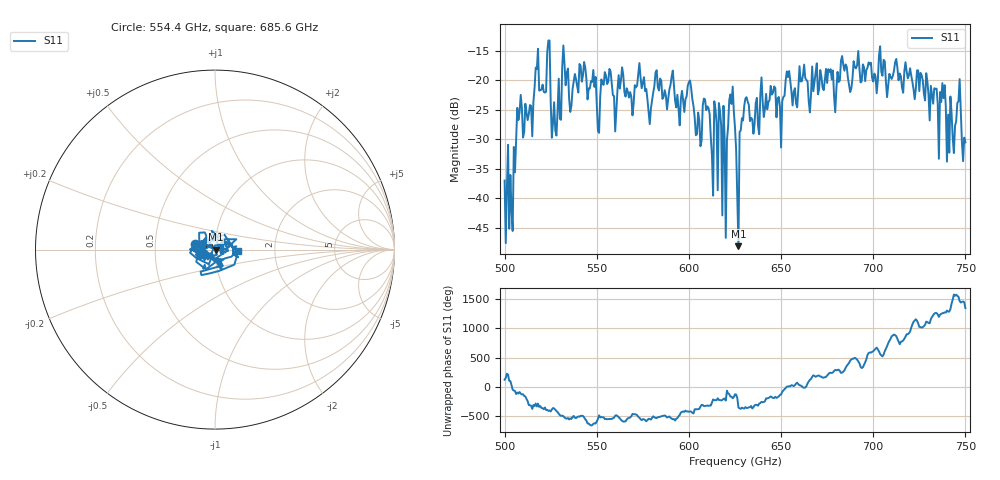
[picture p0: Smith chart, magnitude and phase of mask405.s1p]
!Created with skrf (http://scikit-rf.org).
# GHz S MA R 50.0
!freq magS11 angS11
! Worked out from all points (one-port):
!   401 points, 500 GHz to 750 GHz, reference 50 ohm
!   lowest |S11| = -48.1 dB at 626.9 GHz (marker M1), VSWR 1.01, Z = 50.4 + j0.0134 ohm
!   |S11| at or under -10 dB: start of sweep to end of sweep
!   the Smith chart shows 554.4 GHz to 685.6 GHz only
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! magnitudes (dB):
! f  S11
! 500 GHz  -37.0
! 503.8 GHz  -42.1
! 508.1 GHz  -25.4
! 513.8 GHz  -24.2
! 517.5 GHz  -18.1
! 523.8 GHz  -13.2
! 526.9 GHz  -23.7
! 531.2 GHz  -17.7
! 542.5 GHz  -19.2
! 551.2 GHz  -28.9
! 562.5 GHz  -21.4
! 593.8 GHz  -22.4
! 600.6 GHz  -20.0
! 605.6 GHz  -26.7
! 609.4 GHz  -25.0
! 617.5 GHz  -27.6
! 619.4 GHz  -29.9
! 622.5 GHz  -22.4
! 625 GHz  -28.0
! 626.9 GHz  -48.1
! 631.2 GHz  -22.8
! 656.2 GHz  -24.2
! 687.5 GHz  -22.0
! 718.8 GHz  -19.6
! 737.5 GHz  -20.5
! 742.5 GHz  -25.5
! 746.2 GHz  -23.5
! 750 GHz  -30.5
